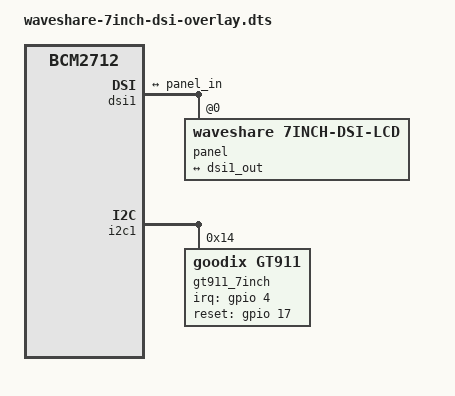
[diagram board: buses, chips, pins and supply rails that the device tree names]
// Raspberry Pi 5 - Waveshare 7" DSI Displays
// Device Tree Overlays for Waveshare 7" MIPI DSI displays
// Copyright (C) 2025 The Android Open Source Project

/dts-v1/;
/plugin/;

// ============================================================================
// Waveshare 7" DSI Display (800x480)
// ============================================================================
/ {
    compatible = "brcm,bcm2712";
    
    fragment@0 {
        target = <&dsi1>;
        __overlay__ {
            status = "okay";
            #address-cells = <1>;
            #size-cells = <0>;
            
            port {
                dsi1_out: endpoint {
                    remote-endpoint = <&panel_in>;
                };
            };
            
            panel: panel@0 {
                compatible = "waveshare,7inch-dsi-lcd";
                reg = <0>;
                
                width-mm = <154>;
                height-mm = <86>;
                
                panel-timing {
                    clock-frequency = <30000000>;
                    hactive = <800>;
                    vactive = <480>;
                    hfront-porch = <40>;
                    hback-porch = <40>;
                    hsync-len = <48>;
                    vfront-porch = <13>;
                    vback-porch = <31>;
                    vsync-len = <2>;
                };
                
                port {
                    panel_in: endpoint {
                        remote-endpoint = <&dsi1_out>;
                    };
                };
            };
        };
    };
    
    fragment@1 {
        target = <&i2c1>;
        __overlay__ {
            status = "okay";
            #address-cells = <1>;
            #size-cells = <0>;
            
            gt911_7inch: gt911@14 {
                compatible = "goodix,gt911";
                reg = <0x14>;
                interrupt-parent = <&gpio>;
                interrupts = <4 2>;
                irq-gpios = <&gpio 4 0>;
                reset-gpios = <&gpio 17 0>;
                touchscreen-size-x = <800>;
                touchscreen-size-y = <480>;
            };
        };
    };
    
    fragment@2 {
        target = <&gpio>;
        __overlay__ {
            backlight_pins: backlight_pins {
                brcm,pins = <18>;
                brcm,function = <1>;  // Output
            };
        };
    };
};
